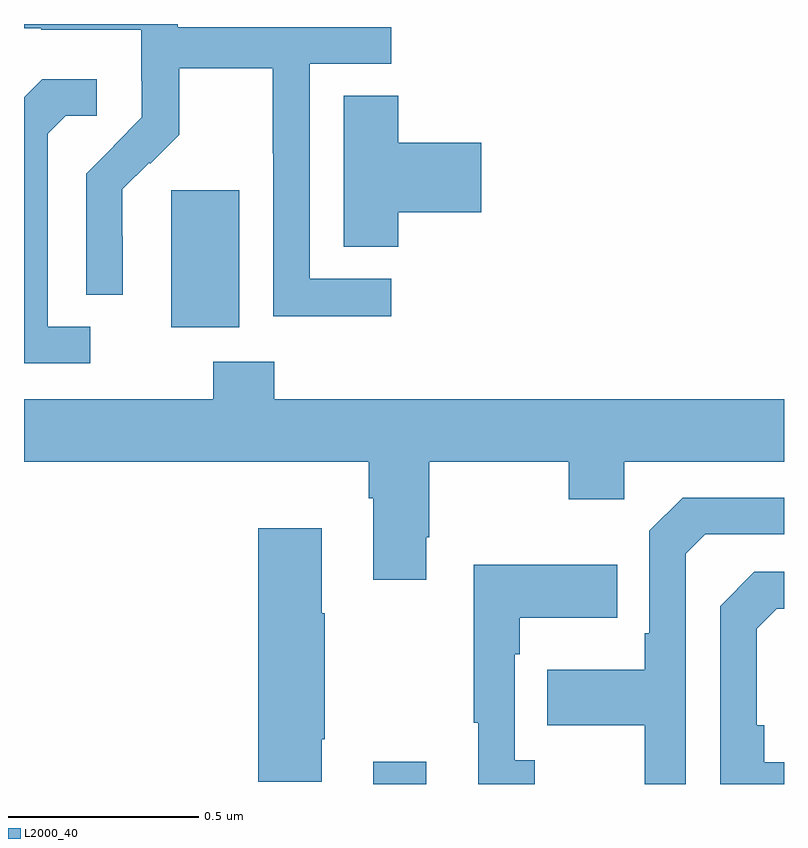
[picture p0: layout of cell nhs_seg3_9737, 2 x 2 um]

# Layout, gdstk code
import gdstk
lib = gdstk.Library(unit=1e-6, precision=1e-09)
def R(c, l, rs):  # rectangles x0, y0, x1, y1
    for r in rs: c.add(gdstk.rectangle(r[:2], r[2:], *l))
def P(c, l, *ps):  # polygons
    for p in ps: c.add(gdstk.Polygon(p, *l))
L2000_40 = (2000, 40)

nhs_seg3_9737 = lib.new_cell('nhs_seg3_9737')
R(nhs_seg3_9737, L2000_40, [(232.919,701.4,233.059,701.458), (232.388,702.602,232.567,702.963)])
P(nhs_seg3_9737, L2000_40, [(232.966,702.729),(232.752,702.729),(232.752,703.296),(232.966,703.296),(232.966,703.392),(232.404,703.392),(232.404,703.4),(232,703.4),(232,703.389),(232.045,703.389),(232.045,703.385),(232.308,703.385),(232.308,703.251),(232.31,703.251),(232.31,703.154),(232.236,703.08),(232.237,703.079),(232.164,703.006),(232.164,702.688),(232.26,702.688),(232.26,702.842),(232.259,702.842),(232.259,702.965),(232.329,703.035),(232.332,703.032),(232.409,703.109),(232.409,703.284),(232.654,703.284),(232.654,703.06),(232.656,703.06),(232.656,702.631),(232.966,702.631)],
  [(232.174,702.603),(232.063,702.603),(232.063,703.111),(232.11,703.158),(232.192,703.158),(232.192,703.255),(232.048,703.255),(232,703.207),(232,702.507),(232.174,702.507)],
  [(232.985,702.905),(233.203,702.905),(233.203,703.088),(232.985,703.088),(232.985,703.211),(232.841,703.211),(232.841,702.814),(232.985,702.814)],
  [(233.059,702.049),(233.067,702.049),(233.067,702.248),(233.434,702.248),(233.434,702.149),(233.58,702.149),(233.58,702.248),(234,702.248),(234,702.412),(232.658,702.412),(232.658,702.511),(232.498,702.511),(232.498,702.412),(232,702.412),(232,702.248),(232.907,702.248),(232.907,702.152),(232.919,702.152),(232.919,701.937),(233.059,701.937)],
  [(233.742,702.006),(233.793,702.057),(234,702.057),(234,702.153),(233.733,702.153),(233.646,702.066),(233.646,701.797),(233.634,701.797),(233.634,701.701),(233.377,701.701),(233.377,701.554),(233.634,701.554),(233.634,701.4),(233.742,701.4)],
  [(232.783,701.518),(232.791,701.518),(232.791,701.849),(232.783,701.849),(232.783,702.073),(232.616,702.073),(232.616,701.406),(232.783,701.406)],
  [(233.344,701.462),(233.292,701.462),(233.292,701.741),(233.305,701.741),(233.305,701.837),(233.561,701.837),(233.561,701.977),(233.184,701.977),(233.184,701.561),(233.195,701.561),(233.195,701.4),(233.344,701.4)],
  [(234,701.457),(233.948,701.457),(233.948,701.554),(233.928,701.554),(233.928,701.808),(233.981,701.861),(234,701.861),(234,701.958),(233.922,701.958),(233.832,701.868),(233.832,701.4),(234,701.4)])

lib.write_gds('nhs_seg3_9737.gds')
